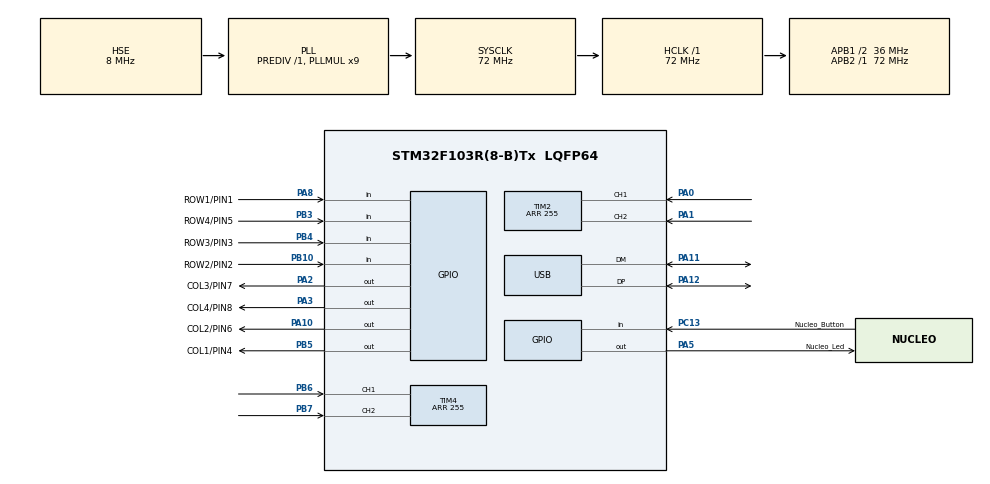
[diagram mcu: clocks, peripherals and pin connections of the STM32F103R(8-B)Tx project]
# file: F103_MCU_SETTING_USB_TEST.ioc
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Mcu.Family=STM32F1
Mcu.Name=STM32F103R(8-B)Tx
Mcu.Package=LQFP64
NVIC.PriorityGroup=NVIC_PRIORITYGROUP_4
NVIC.TIM2_IRQn=true\:9\:0\:true\:false\:true\:true\:true
NVIC.TIM4_IRQn=true\:9\:0\:true\:false\:true\:true\:true
NVIC.USB_LP_CAN1_RX0_IRQn=true\:0\:0\:false\:false\:true\:false\:true
PA0-WKUP.Signal=S_TIM2_CH1_ETR
PA1.Signal=S_TIM2_CH2
PA10.GPIO_Label=COL2/PIN6
PA10.GPIO_PuPd=GPIO_NOPULL
PA10.Signal=GPIO_Output
PA11.Mode=Device
PA11.Signal=USB_DM
PA12.Mode=Device
PA12.Signal=USB_DP
PA13.Mode=Serial_Wire
PA13.Signal=SYS_JTMS-SWDIO
PA14.Mode=Serial_Wire
PA14.Signal=SYS_JTCK-SWCLK
PA2.GPIO_Label=COL3/PIN7
PA2.Signal=GPIO_Output
PA3.GPIO_Label=COL4/PIN8
PA3.Signal=GPIO_Output
PA5.GPIO_Label=Nucleo_Led
PA5.Signal=GPIO_Output
PA8.GPIO_Label=ROW1/PIN1
PA8.GPIO_PuPd=GPIO_PULLDOWN
PA8.Signal=GPIO_Input
PB10.GPIO_Label=ROW2/PIN2
PB10.GPIO_PuPd=GPIO_PULLDOWN
PB10.Signal=GPIO_Input
PB3.GPIO_Label=ROW4/PIN5
PB3.GPIO_PuPd=GPIO_PULLDOWN
PB3.Signal=GPIO_Input
PB4.GPIO_Label=ROW3/PIN3
PB4.GPIO_PuPd=GPIO_PULLDOWN
PB4.Signal=GPIO_Input
PB5.GPIO_Label=COL1/PIN4
PB5.GPIO_PuPd=GPIO_NOPULL
PB5.Signal=GPIO_Output
PB6.Signal=S_TIM4_CH1
PB7.Signal=S_TIM4_CH2
PC13-TAMPER-RTC.GPIO_Label=Nucleo_Button
PC13-TAMPER-RTC.Signal=GPIO_Input
PC14-OSC32_IN.Mode=LSE-External-Clock-Source
PC14-OSC32_IN.Signal=RCC_OSC32_IN
PC15-OSC32_OUT.Mode=LSE-External-Clock-Source
PC15-OSC32_OUT.Signal=RCC_OSC32_OUT
PD0-OSC_IN.Mode=HSE-External-Clock-Source
PD0-OSC_IN.Signal=RCC_OSC_IN
PD1-OSC_OUT.Mode=HSE-External-Clock-Source
PD1-OSC_OUT.Signal=RCC_OSC_OUT
ProjectManager.HeapSize=0x200
ProjectManager.StackSize=0x400
ProjectManager.TargetToolchain=MDK-ARM V5.27
RCC.AHBFreq_Value=72000000
RCC.APB1CLKDivider=RCC_HCLK_DIV2
RCC.APB1Freq_Value=36000000
RCC.APB1TimFreq_Value=72000000
RCC.APB2Freq_Value=72000000
RCC.APB2TimFreq_Value=72000000
RCC.HCLKFreq_Value=72000000
RCC.PLLMUL=RCC_PLL_MUL9
RCC.PLLSourceVirtual=RCC_PLLSOURCE_HSE
RCC.SYSCLKFreq_VALUE=72000000
RCC.SYSCLKSource=RCC_SYSCLKSOURCE_PLLCLK
RCC.USBFreq_Value=48000000
RCC.USBPrescaler=RCC_USBCLKSOURCE_PLL_DIV1_5
SH.S_TIM2_CH1_ETR.0=TIM2_CH1,Encoder_Interface
SH.S_TIM2_CH2.0=TIM2_CH2,Encoder_Interface
SH.S_TIM4_CH1.0=TIM4_CH1,Encoder_Interface
SH.S_TIM4_CH2.0=TIM4_CH2,Encoder_Interface
TIM2.IC1Filter=15
TIM2.IC2Filter=15
TIM2.Period=255
TIM4.IC1Filter=15
TIM4.IC2Filter=15
TIM4.Period=255
USB_DEVICE.CLASS_NAME_FS=CUSTOM_HID
USB_DEVICE.USBD_CUSTOM_HID_REPORT_DESC_SIZE=101
USB_DEVICE.VirtualMode=CustomHid
USB_DEVICE.VirtualModeFS=Custom_Hid_FS
VP_USB_DEVICE_VS_USB_DEVICE_CUSTOM_HID_FS.Mode=CUSTOM_HID_FS
board=custom

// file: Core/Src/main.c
/* USER CODE BEGIN Header */
/**
  ******************************************************************************
  * @file           : main.c
  * @brief          : Main program body
  ******************************************************************************
  * @attention
  *
  * <h2><center>&copy; Copyright (c) 2021 STMicroelectronics.
  * All rights reserved.</center></h2>
  *
  * This software component is licensed by ST under Ultimate Liberty license
  * SLA0044, the "License"; You may not use this file except in compliance with
  * the License. You may obtain a copy of the License at:
  *                             www.st.com/SLA0044
  *
  ******************************************************************************
  */
/* USER CODE END Header */
#include "main.h"
#include "usb_device.h"

/* USER CODE BEGIN Includes */
#include "trackball.h"
#include "keyboard.h"
/* USER CODE END Includes */

TIM_HandleTypeDef htim2;
TIM_HandleTypeDef htim4;

/* USER CODE BEGIN PV */
extern USBD_HandleTypeDef hUsbDeviceFS;

uint8_t Col_Number = 0;
	//This variable stores the number of the scanned column of the current button being scanned.

uint8_t Row_Number = 0;
	//This variable stores the number of the scanned row	 of the current button being scanned.
/* USER CODE END PV */

void SystemClock_Config(void);
static void MX_GPIO_Init(void);
static void MX_TIM2_Init(void);
static void MX_TIM4_Init(void);

int main(void)
{
  /* USER CODE BEGIN 1 */
		Send_Keyboard_USB_Data();
		//without sending this zero packet, there is some kind of garbage on the bus at the beginning
  /* USER CODE END 1 */

  /* MCU Configuration--------------------------------------------------------*/

  /* Reset of all peripherals, Initializes the Flash interface and the Systick. */
  HAL_Init();

  /* Configure the system clock */
  SystemClock_Config();

  /* Initialize all configured peripherals */
  MX_GPIO_Init();
  MX_USB_DEVICE_Init();
  MX_TIM2_Init();
  MX_TIM4_Init();
  /* USER CODE BEGIN 2 */
	HAL_TIM_Encoder_Start_IT(&htim4, TIM_CHANNEL_1);
	HAL_TIM_Encoder_Start_IT(&htim2, TIM_CHANNEL_1);
	HAL_GPIO_WritePin(GPIOA, GPIO_PIN_5, GPIO_PIN_RESET);
	/*****************************************************/
  /* USER CODE END 2 */

  /* Infinite loop */
  /* USER CODE BEGIN WHILE */
  while (1){
	Clearing_Flags();
	//Checking wich buttons was pressed in previous	iteration
	Col_1_ON;
		Col_Number = 1;
			Row_Number = 1;
				if (Row_1_Read){//START BUTTON OLD
					Polling_Old_Modifier_Buttons();
				}
			Row_Number = 2;
				if (Row_2_Read){//A BUTTON OLD
					Polling_Old_Usual_Buttons();
				}
			Row_Number = 3;
				if (Row_3_Read){//B BUTTON OLD
					Polling_Old_Usual_Buttons();
				}
			Row_Number = 4;
				if (Row_4_Read){//* BUTTON OLD
					Polling_Old_Usual_Buttons();
				}
	Col_1_OFF;
/////////////////////////////////////////////////////////////////////////////
	Col_2_ON;
		Col_Number = 2;
			Row_Number = 1;
				if (Row_1_Read){//6 BUTTON OLD
					Polling_Old_Usual_Buttons();
				}
			Row_Number = 2;
				if (Row_2_Read){//1 BUTTON OLD
					Polling_Old_Modifier_Buttons();
				}
			Row_Number = 3;
				if (Row_3_Read){//2 BUTTON OLD
					Polling_Old_Usual_Buttons();
				}
			Row_Number = 4;
				if (Row_4_Read){//7 BUTTON OLD
					Polling_Old_Usual_Buttons();
				}
	Col_2_OFF;
/////////////////////////////////////////////////////////////////////////////
	Col_3_ON;
		Col_Number = 3;
			Row_Number = 1;
				if (Row_1_Read){//8 BUTTON OLD
					Polling_Old_Usual_Buttons();
				}
			Row_Number = 2;
				if (Row_2_Read){//3 BUTTON OLD
					Polling_Old_Usual_Buttons();
				}
			Row_Number = 3;
				if (Row_3_Read){//4 BUTTON OLD
					Polling_Old_Modifier_Buttons();
				}
			Row_Number = 4;
				if (Row_4_Read){//9 BUTTON OLD
					Polling_Old_Usual_Buttons();
				}
	Col_3_OFF;
/////////////////////////////////////////////////////////////////////////////
	Col_4_ON;
		Col_Number = 4;
			Row_Number = 1;
				if (Row_1_Read){//0 BUTTON OLD
					Polling_Old_Usual_Buttons();
				}
			Row_Number = 2;
				if (Row_2_Read){//5 BUTTON OLD
					Polling_Old_Usual_Buttons();
				}
			Row_Number = 3;
				if (Row_3_Read){//C BUTTON OLD
					Polling_Old_Usual_Buttons();
				}
				Row_Number = 4;
				if (Row_4_Read){//ENTER BUTTON OLD
					Polling_Old_Modifier_Buttons();
				}
	Col_4_OFF;
	//HAL_Delay(1);
/////////////////////////////////////////////////////////////////////////
/**********************************************************************************/
//Polling buttons wich pressed in this iteration and was not pressed in previous iteration
	Col_1_ON;
			Col_Number = 1;
			Row_Number = 1;
				if (Row_1_Read){//START BUTTON NEW
					Polling_New_Modifier_Buttons();
				}
			Row_Number = 2;
				if (Row_2_Read){//A BUTTON NEW
					Polling_New_Usual_Buttons();
				}
			Row_Number = 3;
				if (Row_3_Read){//B BUTTON NEW
					Polling_New_Usual_Buttons();
				}
			Row_Number =4;
				if (Row_4_Read){//* BUTTON NEW
					Polling_New_Usual_Buttons();
				}
		/////////////////////////////////////////////////////////////
		Col_1_OFF;
		Col_2_ON;
			Col_Number = 2;
			Row_Number = 1;
				if (Row_1_Read){//6 BUTTON NEW
					Polling_New_Usual_Buttons();
				}
			Row_Number = 2;
				if (Row_2_Read){//1 BUTTON NEW
					Polling_New_Modifier_Buttons();
				}
			Row_Number = 3;
				if (Row_3_Read){//2 BUTTON NEW
					Polling_New_Usual_Buttons();
				}
			Row_Number = 4;
				if (Row_4_Read){//7 BUTTON NEW
					Polling_New_Usual_Buttons();
				}
		Col_2_OFF;
		///////////////////////////////////////////////
		Col_3_ON;
			Col_Number = 3;
			Row_Number = 1;
				if (Row_1_Read){//8 BUTTON NEW
					Polling_New_Usual_Buttons();
				}
			Row_Number = 2;
				if (Row_2_Read){//3 BUTTON NEW
					Polling_New_Usual_Buttons();
				}
			Row_Number = 3;
				if (Row_3_Read){//4 BUTTON NEW
					Polling_New_Modifier_Buttons();
			}
				HAL_Delay(1);
			Row_Number = 4;
				if (Row_4_Read){//9 BUTTON NEW
					Polling_New_Usual_Buttons();
				}
		Col_3_OFF;
		/////////////////////////////////////////////////////
		Col_4_ON;
			Col_Number = 4;
			Row_Number = 1;
				if (Row_1_Read){//0 BUTTON NEW
					Polling_New_Usual_Buttons();
				}
			Row_Number = 2;
				if (Row_2_Read){//5 BUTTON NEW
					Polling_New_Usual_Buttons();
				}
			Row_Number = 3;
				if (Row_3_Read){//C BUTTON NEW
					Polling_New_Usual_Buttons();
				}
			Row_Number = 4;
				if (Row_4_Read){//ENTER BUTTON NEW
					Polling_New_Modifier_Buttons();
				}
			Col_4_OFF;
////////////////////////////////////////////////////////////////////////
		Keyboard_Send_Data_Handle();
		Get_Mouse_Direction();
		if (!Read_Left_Mouse_Buton){
			Set_Click(1);
			Led_ON;
		}
		else {
			Set_Click(0);
			Led_OFF;
		}
		Send_Mouse_USB_Data();
				/***************************************************/

    /* USER CODE END WHILE */

  }
}

void SystemClock_Config(void)
{
  RCC_OscInitTypeDef RCC_OscInitStruct = {0};
  RCC_ClkInitTypeDef RCC_ClkInitStruct = {0};
  RCC_PeriphCLKInitTypeDef PeriphClkInit = {0};

  /** Initializes the RCC Oscillators according to the specified parameters
  * in the RCC_OscInitTypeDef structure.
  */
  RCC_OscInitStruct.OscillatorType = RCC_OSCILLATORTYPE_HSE;
  RCC_OscInitStruct.HSEState = RCC_HSE_BYPASS;
  RCC_OscInitStruct.HSEPredivValue = RCC_HSE_PREDIV_DIV1;
  RCC_OscInitStruct.HSIState = RCC_HSI_ON;
  RCC_OscInitStruct.PLL.PLLState = RCC_PLL_ON;
  RCC_OscInitStruct.PLL.PLLSource = RCC_PLLSOURCE_HSE;
  RCC_OscInitStruct.PLL.PLLMUL = RCC_PLL_MUL9;
  if (HAL_RCC_OscConfig(&RCC_OscInitStruct) != HAL_OK)
  {
    Error_Handler();
  }
  /** Initializes the CPU, AHB and APB buses clocks
  */
  RCC_ClkInitStruct.ClockType = RCC_CLOCKTYPE_HCLK|RCC_CLOCKTYPE_SYSCLK
                              |RCC_CLOCKTYPE_PCLK1|RCC_CLOCKTYPE_PCLK2;
  RCC_ClkInitStruct.SYSCLKSource = RCC_SYSCLKSOURCE_PLLCLK;
  RCC_ClkInitStruct.AHBCLKDivider = RCC_SYSCLK_DIV1;
  RCC_ClkInitStruct.APB1CLKDivider = RCC_HCLK_DIV2;
  RCC_ClkInitStruct.APB2CLKDivider = RCC_HCLK_DIV1;

  if (HAL_RCC_ClockConfig(&RCC_ClkInitStruct, FLASH_LATENCY_2) != HAL_OK)
  {
    Error_Handler();
  }
  PeriphClkInit.PeriphClockSelection = RCC_PERIPHCLK_USB;
  PeriphClkInit.UsbClockSelection = RCC_USBCLKSOURCE_PLL_DIV1_5;
  if (HAL_RCCEx_PeriphCLKConfig(&PeriphClkInit) != HAL_OK)
  {
    Error_Handler();
  }
}

static void MX_TIM2_Init(void)
{

  TIM_Encoder_InitTypeDef sConfig = {0};
  TIM_MasterConfigTypeDef sMasterConfig = {0};

  htim2.Instance = TIM2;
  htim2.Init.Prescaler = 0;
  htim2.Init.CounterMode = TIM_COUNTERMODE_UP;
  htim2.Init.Period = 255;
  htim2.Init.ClockDivision = TIM_CLOCKDIVISION_DIV1;
  htim2.Init.AutoReloadPreload = TIM_AUTORELOAD_PRELOAD_DISABLE;
  sConfig.EncoderMode = TIM_ENCODERMODE_TI1;
  sConfig.IC1Polarity = TIM_ICPOLARITY_RISING;
  sConfig.IC1Selection = TIM_ICSELECTION_DIRECTTI;
  sConfig.IC1Prescaler = TIM_ICPSC_DIV1;
  sConfig.IC1Filter = 15;
  sConfig.IC2Polarity = TIM_ICPOLARITY_RISING;
  sConfig.IC2Selection = TIM_ICSELECTION_DIRECTTI;
  sConfig.IC2Prescaler = TIM_ICPSC_DIV1;
  sConfig.IC2Filter = 15;
  if (HAL_TIM_Encoder_Init(&htim2, &sConfig) != HAL_OK)
  {
    Error_Handler();
  }
  sMasterConfig.MasterOutputTrigger = TIM_TRGO_RESET;
  sMasterConfig.MasterSlaveMode = TIM_MASTERSLAVEMODE_DISABLE;
  if (HAL_TIMEx_MasterConfigSynchronization(&htim2, &sMasterConfig) != HAL_OK)
  {
    Error_Handler();
  }

}

static void MX_TIM4_Init(void)
{

  TIM_Encoder_InitTypeDef sConfig = {0};
  TIM_MasterConfigTypeDef sMasterConfig = {0};

  htim4.Instance = TIM4;
  htim4.Init.Prescaler = 0;
  htim4.Init.CounterMode = TIM_COUNTERMODE_UP;
  htim4.Init.Period = 255;
  htim4.Init.ClockDivision = TIM_CLOCKDIVISION_DIV1;
  htim4.Init.AutoReloadPreload = TIM_AUTORELOAD_PRELOAD_DISABLE;
  sConfig.EncoderMode = TIM_ENCODERMODE_TI1;
  sConfig.IC1Polarity = TIM_ICPOLARITY_RISING;
  sConfig.IC1Selection = TIM_ICSELECTION_DIRECTTI;
  sConfig.IC1Prescaler = TIM_ICPSC_DIV1;
  sConfig.IC1Filter = 15;
  sConfig.IC2Polarity = TIM_ICPOLARITY_RISING;
  sConfig.IC2Selection = TIM_ICSELECTION_DIRECTTI;
  sConfig.IC2Prescaler = TIM_ICPSC_DIV1;
  sConfig.IC2Filter = 15;
  if (HAL_TIM_Encoder_Init(&htim4, &sConfig) != HAL_OK)
  {
    Error_Handler();
  }
  sMasterConfig.MasterOutputTrigger = TIM_TRGO_RESET;
  sMasterConfig.MasterSlaveMode = TIM_MASTERSLAVEMODE_DISABLE;
  if (HAL_TIMEx_MasterConfigSynchronization(&htim4, &sMasterConfig) != HAL_OK)
  {
    Error_Handler();
  }

}

static void MX_GPIO_Init(void)
{
  GPIO_InitTypeDef GPIO_InitStruct = {0};

  /* GPIO Ports Clock Enable */
  __HAL_RCC_GPIOC_CLK_ENABLE();
  __HAL_RCC_GPIOD_CLK_ENABLE();
  __HAL_RCC_GPIOA_CLK_ENABLE();
  __HAL_RCC_GPIOB_CLK_ENABLE();

  /*Configure GPIO pin Output Level */
  HAL_GPIO_WritePin(GPIOA, COL3_PIN7_Pin|COL4_PIN8_Pin|Nucleo_Led_Pin|COL2_PIN6_Pin, GPIO_PIN_RESET);

  /*Configure GPIO pin Output Level */
  HAL_GPIO_WritePin(COL1_PIN4_GPIO_Port, COL1_PIN4_Pin, GPIO_PIN_RESET);

  /*Configure GPIO pin : Nucleo_Button_Pin */
  GPIO_InitStruct.Pin = Nucleo_Button_Pin;
  GPIO_InitStruct.Mode = GPIO_MODE_INPUT;
  GPIO_InitStruct.Pull = GPIO_NOPULL;
  HAL_GPIO_Init(Nucleo_Button_GPIO_Port, &GPIO_InitStruct);

  /*Configure GPIO pins : COL3_PIN7_Pin COL4_PIN8_Pin Nucleo_Led_Pin COL2_PIN6_Pin */
  GPIO_InitStruct.Pin = COL3_PIN7_Pin|COL4_PIN8_Pin|Nucleo_Led_Pin|COL2_PIN6_Pin;
  GPIO_InitStruct.Mode = GPIO_MODE_OUTPUT_PP;
  GPIO_InitStruct.Pull = GPIO_NOPULL;
  GPIO_InitStruct.Speed = GPIO_SPEED_FREQ_LOW;
  HAL_GPIO_Init(GPIOA, &GPIO_InitStruct);

  /*Configure GPIO pins : ROW2_PIN2_Pin ROW4_PIN5_Pin ROW3_PIN3_Pin */
  GPIO_InitStruct.Pin = ROW2_PIN2_Pin|ROW4_PIN5_Pin|ROW3_PIN3_Pin;
  GPIO_InitStruct.Mode = GPIO_MODE_INPUT;
  GPIO_InitStruct.Pull = GPIO_PULLDOWN;
  HAL_GPIO_Init(GPIOB, &GPIO_InitStruct);

  /*Configure GPIO pin : ROW1_PIN1_Pin */
  GPIO_InitStruct.Pin = ROW1_PIN1_Pin;
  GPIO_InitStruct.Mode = GPIO_MODE_INPUT;
  GPIO_InitStruct.Pull = GPIO_PULLDOWN;
  HAL_GPIO_Init(ROW1_PIN1_GPIO_Port, &GPIO_InitStruct);

  /*Configure GPIO pin : COL1_PIN4_Pin */
  GPIO_InitStruct.Pin = COL1_PIN4_Pin;
  GPIO_InitStruct.Mode = GPIO_MODE_OUTPUT_PP;
  GPIO_InitStruct.Pull = GPIO_NOPULL;
  GPIO_InitStruct.Speed = GPIO_SPEED_FREQ_LOW;
  HAL_GPIO_Init(COL1_PIN4_GPIO_Port, &GPIO_InitStruct);

}

void Error_Handler(void)
{
  __disable_irq();
  while (1)
  {
  }
}

/************************ (C) COPYRIGHT STMicroelectronics *****END OF FILE****/
